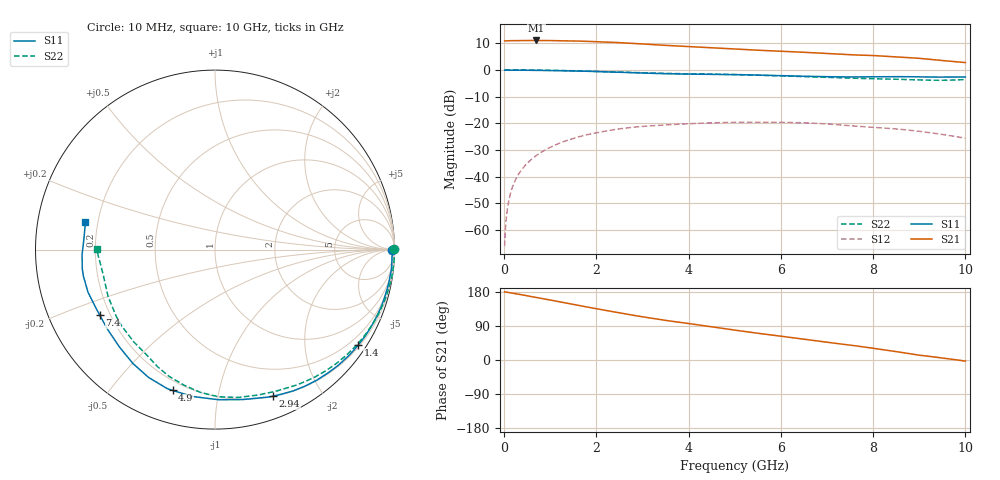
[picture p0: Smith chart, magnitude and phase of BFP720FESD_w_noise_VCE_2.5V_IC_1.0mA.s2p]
! Infineon Technologies  Discrete & RF Semiconductors
! BFP720FESD
! VCE =  2.5 V,  IC =  1.0 mA
! Common Emitter S-Parameters:  Jan 2016
# GHz  S  MA  R  50
!  f  S11  S21  S12  S22
! GHz  MAG  ANG  MAG  ANG  MAG  ANG  MAG  ANG
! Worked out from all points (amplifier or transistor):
!   233 points, 10 MHz to 10 GHz, reference 50 ohm
!   highest |S21| = 11.0 dB at 700 MHz (marker M1)
!   |S21| within 3 dB of that: start of sweep to 4.777 GHz
!   unconditionally stable (mu >= 1): 9.127 GHz to end of sweep
!   at 200 MHz: K = 0.00, MSG = 27.0 dB, |S12| = -43.0 dB
!   at 1.74 GHz: K = 0.09, MSG = 17.6 dB, |S12| = -24.5 dB
!   at 10 GHz: K = 1.45, MAG = 10.2 dB, |S12| = -25.6 dB
!   lowest NFmin = 0.46 dB at 450 MHz
!   S11 on the Smith chart (normalised r, x): 10 MHz: open; 1.4 GHz: 0.25, -3.29; 2.94 GHz: 0.20, -1.45; 4.9 GHz: 0.15, -0.73; 7.4 GHz: 0.16, -0.26; 10 GHz: 0.15, +0.10
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0.01  0.9888 0.0  3.499 179.7  0.0005 39.5  0.998 0.1
0.025  0.9908 -0.5  3.481 179.7  0.001 92.8  0.9994 -0.5
0.04  0.992 -0.9  3.483 179.3  0.0015 89.1  0.9995 -0.7
0.07  0.9904 -1.6  3.496 178.7  0.0025 87.8  0.9995 -1.3
0.11  0.987 -2.5  3.516 178.1  0.0039 87.7  0.9995 -2.1
0.185  0.9879 -4.5  3.531 176.4  0.0066 86.6  0.9993 -3.5
0.42  0.9862 -10.0  3.546 171.3  0.015 82.4  0.9967 -8.0
0.7  0.9811 -16.7  3.558 165.0  0.025 77.0  0.9914 -13.3
1.4  0.9586 -33.6  3.504 148.9  0.049 62.9  0.9671 -27.3
1.68  0.9468 -40.2  3.452 142.5  0.0576 57.1  0.9537 -32.9
2.38  0.9124 -56.0  3.275 127.0  0.0759 43.6  0.9166 -46.9
2.94  0.8779 -68.4  3.087 115.2  0.0868 33.0  0.8843 -57.7
3.4  0.8526 -77.6  2.91 106.5  0.0922 25.4  0.8621 -65.1
4.5  0.8278 -98.8  2.599 87.6  0.1023 10.1  0.8337 -81.1
4.9  0.8191 -106.8  2.489 80.6  0.104 4.2  0.8217 -87.2
5.1  0.8145 -110.5  2.437 77.2  0.1045 1.3  0.815 -90.1
6  0.7824 -125.7  2.235 62.8  0.1042 -11.0  0.7749 -102.8
6.8  0.7493 -139.7  2.07 49.9  0.0991 -21.9  0.7352 -113.7
7.4  0.739 -150.4  1.941 40.8  0.0913 -29.1  0.7056 -121.1
8.4  0.7479 -168.6  1.781 23.9  0.0796 -38.6  0.6718 -140.8
9  0.741 -177.9  1.646 12.7  0.0708 -45.3  0.6506 -156.2
10  0.7384 167.8  1.372 -2.9  0.0526 -51.8  0.6601 179.9
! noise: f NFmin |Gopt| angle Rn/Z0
0.45  0.46  0.85  5  0.47
2.4  0.87  0.66  37  0.43
5.5  1.17  0.64  105  0.24
10  2.33  0.52  -167  0.14
